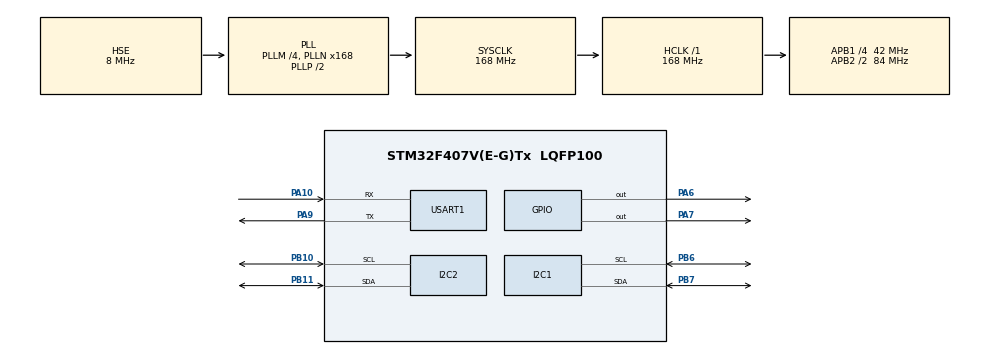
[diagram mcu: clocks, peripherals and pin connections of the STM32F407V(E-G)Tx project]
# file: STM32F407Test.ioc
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FREERTOS.Tasks01=defaultTask,24,128,StartDefaultTask,Default,NULL,Dynamic,NULL,NULL
Mcu.Family=STM32F4
Mcu.Name=STM32F407V(E-G)Tx
Mcu.Package=LQFP100
NVIC.PriorityGroup=NVIC_PRIORITYGROUP_4
PA10.Mode=Asynchronous
PA10.Signal=USART1_RX
PA6.PinState=GPIO_PIN_SET
PA6.Signal=GPIO_Output
PA7.PinState=GPIO_PIN_SET
PA7.Signal=GPIO_Output
PA9.Mode=Asynchronous
PA9.Signal=USART1_TX
PB10.Mode=I2C
PB10.Signal=I2C2_SCL
PB11.Mode=I2C
PB11.Signal=I2C2_SDA
PB6.Mode=I2C
PB6.Signal=I2C1_SCL
PB7.Mode=I2C
PB7.Signal=I2C1_SDA
PC14-OSC32_IN.Mode=LSE-External-Oscillator
PC14-OSC32_IN.Signal=RCC_OSC32_IN
PC15-OSC32_OUT.Mode=LSE-External-Oscillator
PC15-OSC32_OUT.Signal=RCC_OSC32_OUT
PH0-OSC_IN.Mode=HSE-External-Oscillator
PH0-OSC_IN.Signal=RCC_OSC_IN
PH1-OSC_OUT.Mode=HSE-External-Oscillator
PH1-OSC_OUT.Signal=RCC_OSC_OUT
ProjectManager.HeapSize=0x200
ProjectManager.StackSize=0x400
ProjectManager.TargetToolchain=MDK-ARM V5.32
RCC.48MHZClocksFreq_Value=84000000
RCC.AHBFreq_Value=168000000
RCC.APB1CLKDivider=RCC_HCLK_DIV4
RCC.APB1Freq_Value=42000000
RCC.APB1TimFreq_Value=84000000
RCC.APB2CLKDivider=RCC_HCLK_DIV2
RCC.APB2Freq_Value=84000000
RCC.APB2TimFreq_Value=168000000
RCC.CortexFreq_Value=168000000
RCC.HCLKFreq_Value=168000000
RCC.HSE_VALUE=8000000
RCC.HSI_VALUE=16000000
RCC.PLLM=4
RCC.PLLN=168
RCC.PLLSourceVirtual=RCC_PLLSOURCE_HSE
RCC.SYSCLKFreq_VALUE=168000000
RCC.SYSCLKSource=RCC_SYSCLKSOURCE_PLLCLK
RCC.VCOOutputFreq_Value=336000000
USART1.VirtualMode=VM_ASYNC
VP_FREERTOS_VS_CMSIS_V2.Mode=CMSIS_V2
board=custom

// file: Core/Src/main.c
/* USER CODE BEGIN Header */
/**
  ******************************************************************************
  * @file           : main.c
  * @brief          : Main program body
  ******************************************************************************
  * @attention
  *
  * Copyright (c) 2026 STMicroelectronics.
  * All rights reserved.
  *
  * This software is licensed under terms that can be found in the LICENSE file
  * in the root directory of this software component.
  * If no LICENSE file comes with this software, it is provided AS-IS.
  *
  ******************************************************************************
  */
/* USER CODE END Header */
#include "main.h"
#include "cmsis_os.h"

/* USER CODE BEGIN Includes */
#include "AS5600.h"
#include <stdio.h>
/* USER CODE END Includes */

I2C_HandleTypeDef hi2c1;
I2C_HandleTypeDef hi2c2;

UART_HandleTypeDef huart1;

/* Definitions for defaultTask */
osThreadId_t defaultTaskHandle;
const osThreadAttr_t defaultTask_attributes = {
  .name = "defaultTask",
  .stack_size = 128 * 4,
  .priority = (osPriority_t) osPriorityNormal,
};

void SystemClock_Config(void);
static void MX_GPIO_Init(void);
static void MX_I2C1_Init(void);
static void MX_I2C2_Init(void);
static void MX_USART1_UART_Init(void);
void StartDefaultTask(void *argument);

/* USER CODE BEGIN 0 */

int fputc(int ch, FILE *f)
{
  (void)f;
  HAL_UART_Transmit(&huart1, (uint8_t *)&ch, 1, HAL_MAX_DELAY);
  return ch;
}

/* USER CODE END 0 */

int main(void)
{

  /* MCU Configuration--------------------------------------------------------*/

  /* Reset of all peripherals, Initializes the Flash interface and the Systick. */
  HAL_Init();

  /* Configure the system clock */
  SystemClock_Config();
  HAL_Delay(500);

  /* Initialize all configured peripherals */
  MX_GPIO_Init();
  MX_I2C1_Init();
  MX_I2C2_Init();
  MX_USART1_UART_Init();
  /* USER CODE BEGIN 2 */
  HAL_Delay(500);
  HAL_GPIO_WritePin(LED1_GPIO_Port, LED1_Pin | LED2_Pin, GPIO_PIN_RESET);
  printf("Init complete.\r\n");
  /* USER CODE END 2 */

  /* Init scheduler */
  osKernelInitialize();

  /* Create the thread(s) */
  /* creation of defaultTask */
  defaultTaskHandle = osThreadNew(StartDefaultTask, NULL, &defaultTask_attributes);

  /* Start scheduler */
  osKernelStart();

  /* We should never get here as control is now taken by the scheduler */

  /* Infinite loop */
  while (1)
  {

  }
}

void SystemClock_Config(void)
{
  RCC_OscInitTypeDef RCC_OscInitStruct = {0};
  RCC_ClkInitTypeDef RCC_ClkInitStruct = {0};

  /** Configure the main internal regulator output voltage
  */
  __HAL_RCC_PWR_CLK_ENABLE();
  __HAL_PWR_VOLTAGESCALING_CONFIG(PWR_REGULATOR_VOLTAGE_SCALE1);

  /** Initializes the RCC Oscillators according to the specified parameters
  * in the RCC_OscInitTypeDef structure.
  */
  RCC_OscInitStruct.OscillatorType = RCC_OSCILLATORTYPE_HSE;
  RCC_OscInitStruct.HSEState = RCC_HSE_ON;
  RCC_OscInitStruct.PLL.PLLState = RCC_PLL_ON;
  RCC_OscInitStruct.PLL.PLLSource = RCC_PLLSOURCE_HSE;
  RCC_OscInitStruct.PLL.PLLM = 4;
  RCC_OscInitStruct.PLL.PLLN = 168;
  RCC_OscInitStruct.PLL.PLLP = RCC_PLLP_DIV2;
  RCC_OscInitStruct.PLL.PLLQ = 4;
  if (HAL_RCC_OscConfig(&RCC_OscInitStruct) != HAL_OK)
  {
    Error_Handler();
  }

  /** Initializes the CPU, AHB and APB buses clocks
  */
  RCC_ClkInitStruct.ClockType = RCC_CLOCKTYPE_HCLK|RCC_CLOCKTYPE_SYSCLK
                              |RCC_CLOCKTYPE_PCLK1|RCC_CLOCKTYPE_PCLK2;
  RCC_ClkInitStruct.SYSCLKSource = RCC_SYSCLKSOURCE_PLLCLK;
  RCC_ClkInitStruct.AHBCLKDivider = RCC_SYSCLK_DIV1;
  RCC_ClkInitStruct.APB1CLKDivider = RCC_HCLK_DIV4;
  RCC_ClkInitStruct.APB2CLKDivider = RCC_HCLK_DIV2;

  if (HAL_RCC_ClockConfig(&RCC_ClkInitStruct, FLASH_LATENCY_5) != HAL_OK)
  {
    Error_Handler();
  }
}

static void MX_I2C1_Init(void)
{

  hi2c1.Instance = I2C1;
  hi2c1.Init.ClockSpeed = 100000;
  hi2c1.Init.DutyCycle = I2C_DUTYCYCLE_2;
  hi2c1.Init.OwnAddress1 = 0;
  hi2c1.Init.AddressingMode = I2C_ADDRESSINGMODE_7BIT;
  hi2c1.Init.DualAddressMode = I2C_DUALADDRESS_DISABLE;
  hi2c1.Init.OwnAddress2 = 0;
  hi2c1.Init.GeneralCallMode = I2C_GENERALCALL_DISABLE;
  hi2c1.Init.NoStretchMode = I2C_NOSTRETCH_DISABLE;
  if (HAL_I2C_Init(&hi2c1) != HAL_OK)
  {
    Error_Handler();
  }

}

static void MX_I2C2_Init(void)
{

  hi2c2.Instance = I2C2;
  hi2c2.Init.ClockSpeed = 100000;
  hi2c2.Init.DutyCycle = I2C_DUTYCYCLE_2;
  hi2c2.Init.OwnAddress1 = 0;
  hi2c2.Init.AddressingMode = I2C_ADDRESSINGMODE_7BIT;
  hi2c2.Init.DualAddressMode = I2C_DUALADDRESS_DISABLE;
  hi2c2.Init.OwnAddress2 = 0;
  hi2c2.Init.GeneralCallMode = I2C_GENERALCALL_DISABLE;
  hi2c2.Init.NoStretchMode = I2C_NOSTRETCH_DISABLE;
  if (HAL_I2C_Init(&hi2c2) != HAL_OK)
  {
    Error_Handler();
  }

}

static void MX_USART1_UART_Init(void)
{

  huart1.Instance = USART1;
  huart1.Init.BaudRate = 115200;
  huart1.Init.WordLength = UART_WORDLENGTH_8B;
  huart1.Init.StopBits = UART_STOPBITS_1;
  huart1.Init.Parity = UART_PARITY_NONE;
  huart1.Init.Mode = UART_MODE_TX_RX;
  huart1.Init.HwFlowCtl = UART_HWCONTROL_NONE;
  huart1.Init.OverSampling = UART_OVERSAMPLING_16;
  if (HAL_UART_Init(&huart1) != HAL_OK)
  {
    Error_Handler();
  }

}

static void MX_GPIO_Init(void)
{
  GPIO_InitTypeDef GPIO_InitStruct = {0};

  /* GPIO Ports Clock Enable */
  __HAL_RCC_GPIOC_CLK_ENABLE();
  __HAL_RCC_GPIOH_CLK_ENABLE();
  __HAL_RCC_GPIOA_CLK_ENABLE();
  __HAL_RCC_GPIOB_CLK_ENABLE();

  /*Configure GPIO pin Output Level */
  HAL_GPIO_WritePin(GPIOA, GPIO_PIN_6|GPIO_PIN_7, GPIO_PIN_SET);

  /*Configure GPIO pins : PA6 PA7 */
  GPIO_InitStruct.Pin = GPIO_PIN_6|GPIO_PIN_7;
  GPIO_InitStruct.Mode = GPIO_MODE_OUTPUT_PP;
  GPIO_InitStruct.Pull = GPIO_NOPULL;
  GPIO_InitStruct.Speed = GPIO_SPEED_FREQ_LOW;
  HAL_GPIO_Init(GPIOA, &GPIO_InitStruct);

}

void StartDefaultTask(void *argument)
{
  /* USER CODE BEGIN 5 */
  uint16_t angle_i2c1;
  uint16_t angle_i2c2;
  float deg_i2c1;
  float deg_i2c2;

  /* 两路独立 I2C，各挂一颗 AS5600（从地址均为 0x36，互不冲突） */
  for (;;)
  {
    if (AS5600_ReadAngle(&hi2c1, &angle_i2c1) == HAL_OK)
    {
      deg_i2c1 = AS5600_Angle12_ToDegrees(angle_i2c1);
      (void)deg_i2c1;
    }
    if (AS5600_ReadAngle(&hi2c2, &angle_i2c2) == HAL_OK)
    {
      deg_i2c2 = AS5600_Angle12_ToDegrees(angle_i2c2);
      (void)deg_i2c2;
    }
    osDelay(10U);
  }
  /* USER CODE END 5 */
}

void Error_Handler(void)
{
  __disable_irq();
  while (1)
  {
  }
}
